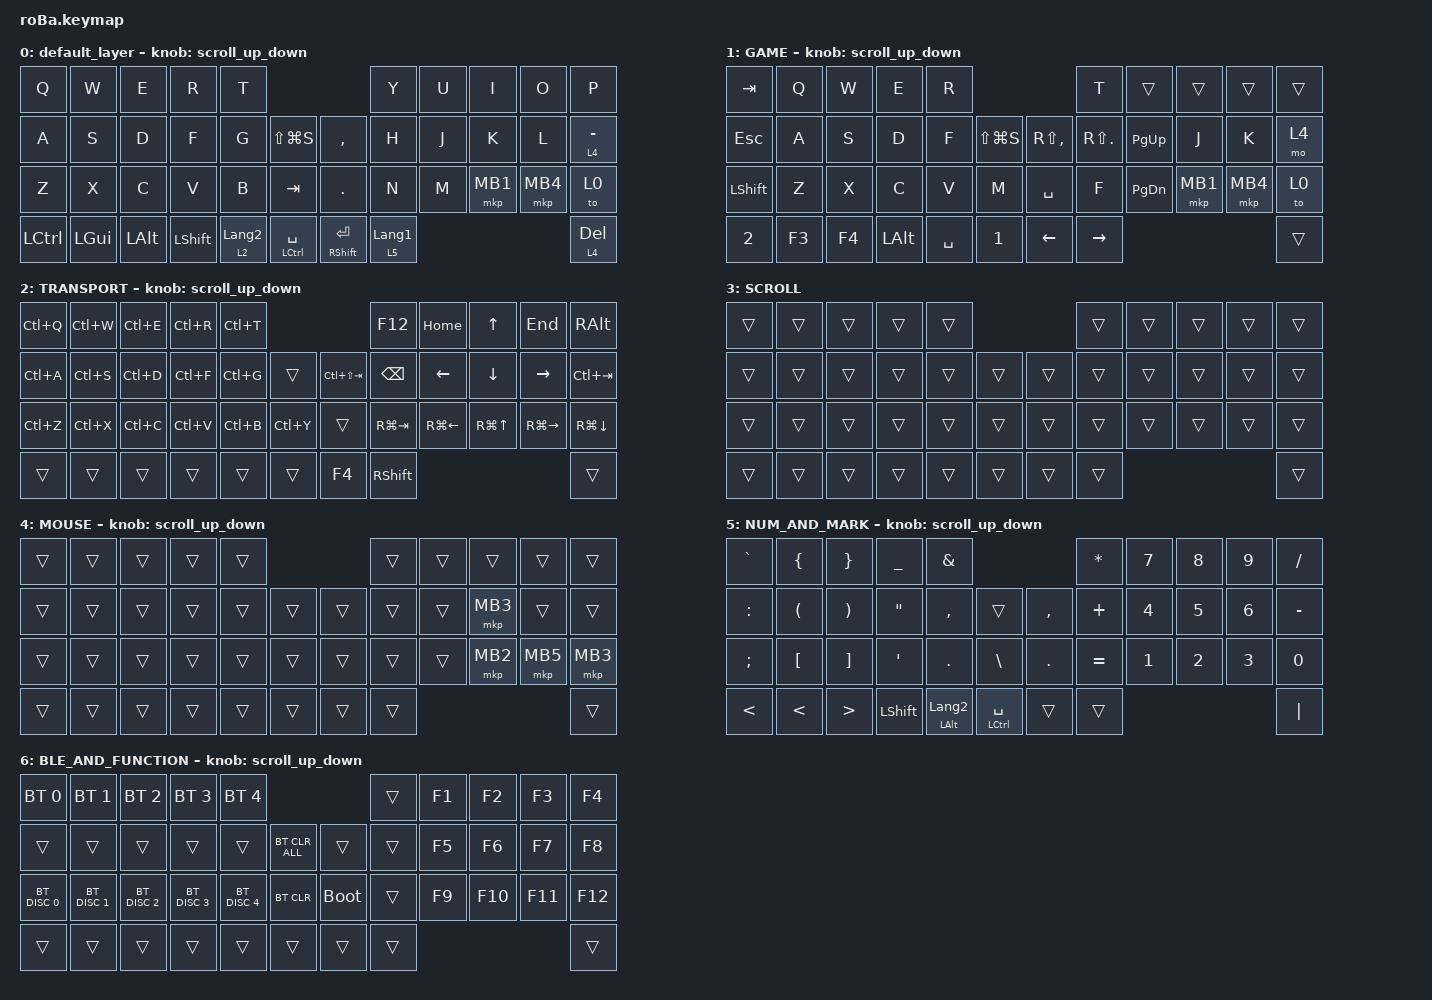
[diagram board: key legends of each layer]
#include <behaviors.dtsi>
#include <dt-bindings/zmk/bt.h>
#include <dt-bindings/zmk/keys.h>
#include <dt-bindings/zmk/mouse.h>
#include <interfaces/hid-trackball.dtsi>

#define MOUSE 4
#define SCROLL 5
#define NUM 6
#define ZMK_MOUSE_DEFAULT_SCRL_VAL 100

&mt {
    flavor = "balanced";
    quick-tap-ms = <0>;
};

/ {
    combos {
        compatible = "zmk,combos";

        tab {
            bindings = <&kp TAB>;
            key-positions = <11 10>;
        };

        shift_tab {
            bindings = <&kp LS(TAB)>;
            key-positions = <12 11>;
        };

        eq {
            bindings = <&kp EQUAL>;
            key-positions = <24 25>;
        };

        left_toggle_game_layer {
            bindings = <&tog 1>;
            key-positions = <39 38 37>;
        };

        right_toggle_game_layer {
            bindings = <&tog 1>;
            key-positions = <40 41>;
        };

        COMBO_ESCAPE {
            bindings = <&kp ESCAPE>;
            key-positions = <0 1>;
        };

        toggle_ble_func_layer {
            bindings = <&tog 6>;
            key-positions = <34 35 36>;
        };

        COMBO_F1 {
            bindings = <&kp F1>;
            key-positions = <5 6>;
        };

        COMBO_F2 {
            bindings = <&kp F2>;
            key-positions = <6 7>;
        };

        COMBO_F3 {
            bindings = <&kp F3>;
            key-positions = <7 8>;
        };

        COMBO_F4 {
            bindings = <&kp F4>;
            key-positions = <9 8>;
        };

        COMBO_F5 {
            bindings = <&kp F5>;
            key-positions = <17 18>;
        };

        COMBO_F6 {
            bindings = <&kp F6>;
            key-positions = <18 19>;
        };

        COMBO_F7 {
            bindings = <&kp F7>;
            key-positions = <19 20>;
        };

        COMBO_F8 {
            bindings = <&kp F8>;
            key-positions = <20 21>;
        };

        COMBO_F9 {
            bindings = <&kp F9>;
            key-positions = <29 30>;
        };

        COMBO_F10 {
            bindings = <&kp F10>;
            key-positions = <30 31>;
        };

        COMBO_F11 {
            bindings = <&kp F11>;
            key-positions = <31 32>;
        };

        COMBO_F12 {
            bindings = <&kp F12>;
            key-positions = <32 33>;
        };
    };

    macros {
        to_layer_0: to_layer_0 {
            compatible = "zmk,behavior-macro-one-param";
            #binding-cells = <1>;
            bindings = <&to 0 &macro_param_1to1 &kp MACRO_PLACEHOLDER>;
            label = "TO_LAYER_0";
        };
    };

    behaviors {
        lt_to_layer_0: lt_to_layer_0 {
            compatible = "zmk,behavior-hold-tap";
            label = "LAYER_TAP_TO_0";
            bindings = <&mo>, <&to_layer_0>;

            #binding-cells = <2>;
            tapping-term-ms = <200>;
        };

        scroll_up_down: behavior_sensor_rotate_mouse_wheel_up_down {
            compatible = "zmk,behavior-sensor-rotate";
            #sensor-binding-cells = <0>;
            bindings = <&msc SCRL_UP>, <&msc SCRL_DOWN>;
            // 追加: スクロールのタップ時間を設定 (20ms)
            tap-ms = <20>;
        };
    };

    keymap {
        compatible = "zmk,keymap";

        default_layer {
            bindings = <
&kp Q             &kp W         &kp E         &kp R           &kp T                                                              &kp Y             &kp U  &kp I     &kp O     &kp P
&kp A             &kp S         &kp D         &kp F           &kp G             &kp LS(LG(S))             &kp COMMA              &kp H             &kp J  &kp K     &kp L     &lt 4 MINUS
&kp Z             &kp X         &kp C         &kp V           &kp B             &kp TAB                   &kp PERIOD             &kp N             &kp M  &mkp MB1  &mkp MB4  &to 0
&kp LEFT_CONTROL  &kp LEFT_GUI  &kp LEFT_ALT  &kp LEFT_SHIFT  &lt 2 LANGUAGE_2  &mt LEFT_CONTROL SPACE    &mt RIGHT_SHIFT ENTER  &lt 5 LANGUAGE_1                             &lt 4 DELETE
            >;

            sensor-bindings = <&scroll_up_down>;
        };

        GAME {
            bindings = <
&kp TAB         &kp Q   &kp W   &kp E         &kp R                                       &kp T            &trans         &trans    &trans    &trans
&kp ESCAPE      &kp A   &kp S   &kp D         &kp F      &kp LS(LG(S))    &kp RS(COMMA)   &kp RS(PERIOD)   &kp PAGE_UP    &kp J     &kp K     &mo 4
&kp LEFT_SHIFT  &kp Z   &kp X   &kp C         &kp V      &kp M            &kp SPACE       &kp F            &kp PAGE_DOWN  &mkp MB1  &mkp MB4  &to 0
&kp NUMBER_2    &kp F3  &kp F4  &kp LEFT_ALT  &kp SPACE  &kp NUMBER_1     &kp LEFT_ARROW  &kp RIGHT_ARROW                                     &trans
            >;

            sensor-bindings = <&scroll_up_down>;
        };

        TRANSPORT {
            bindings = <
&kp LC(Q)  &kp LC(W)  &kp LC(E)  &kp LC(R)  &kp LC(T)                                &kp F12          &kp HOME            &kp UP_ARROW      &kp END              &kp RIGHT_ALT
&kp LC(A)  &kp LC(S)  &kp LC(D)  &kp LC(F)  &kp LC(G)  &trans       &kp LC(LS(TAB))  &kp BACKSPACE    &kp LEFT_ARROW      &kp DOWN_ARROW    &kp RIGHT_ARROW      &kp LC(TAB)
&kp LC(Z)  &kp LC(X)  &kp LC(C)  &kp LC(V)  &kp LC(B)  &kp LC(Y)    &trans           &kp RG(TAB)      &kp RG(LEFT_ARROW)  &kp RG(UP_ARROW)  &kp RG(RIGHT_ARROW)  &kp RG(DOWN_ARROW)
&trans     &trans     &trans     &trans     &trans     &trans       &kp F4           &kp RIGHT_SHIFT                                                             &trans
            >;

            sensor-bindings = <&scroll_up_down>;
        };

        SCROLL {
            bindings = <
&trans  &trans  &trans  &trans  &trans                    &trans  &trans  &trans  &trans  &trans
&trans  &trans  &trans  &trans  &trans  &trans    &trans  &trans  &trans  &trans  &trans  &trans
&trans  &trans  &trans  &trans  &trans  &trans    &trans  &trans  &trans  &trans  &trans  &trans
&trans  &trans  &trans  &trans  &trans  &trans    &trans  &trans                          &trans
            >;
        };

        MOUSE {
            bindings = <
&trans  &trans  &trans  &trans  &trans                    &trans  &trans  &trans    &trans    &trans
&trans  &trans  &trans  &trans  &trans  &trans    &trans  &trans  &trans  &mkp MB3  &trans    &trans
&trans  &trans  &trans  &trans  &trans  &trans    &trans  &trans  &trans  &mkp MB2  &mkp MB5  &mkp MB3
&trans  &trans  &trans  &trans  &trans  &trans    &trans  &trans                              &trans
            >;

            sensor-bindings = <&scroll_up_down>;
        };

        NUM_AND_MARK {
            bindings = <
&kp GRAVE      &kp LEFT_BRACE        &kp RIGHT_BRACE        &kp UNDERSCORE     &kp AMPERSAND                                                  &kp ASTERISK  &kp NUMBER_7  &kp NUMBER_8  &kp NUMBER_9  &kp SLASH
&kp COLON      &kp LEFT_PARENTHESIS  &kp RIGHT_PARENTHESIS  &kp DOUBLE_QUOTES  &kp COMMA                &trans                    &kp COMMA   &kp PLUS      &kp NUMBER_4  &kp NUMBER_5  &kp NUMBER_6  &kp MINUS
&kp SEMICOLON  &kp LEFT_BRACKET      &kp RIGHT_BRACKET      &kp SINGLE_QUOTE   &kp PERIOD               &kp BACKSLASH             &kp PERIOD  &kp EQUAL     &kp NUMBER_1  &kp NUMBER_2  &kp NUMBER_3  &kp NUMBER_0
&kp LESS_THAN  &kp LESS_THAN         &kp GREATER_THAN       &kp LEFT_SHIFT     &mt LEFT_ALT LANGUAGE_2  &mt LEFT_CONTROL SPACE    &trans      &trans                                                  &kp PIPE
            >;

            sensor-bindings = <&scroll_up_down>;
        };

        BLE_AND_FUNCTION {
            bindings = <
&bt BT_SEL 0   &bt BT_SEL 1   &bt BT_SEL 2   &bt BT_SEL 3   &bt BT_SEL 4                                  &trans  &kp F1  &kp F2   &kp F3   &kp F4
&trans         &trans         &trans         &trans         &trans         &bt BT_CLR_ALL    &trans       &trans  &kp F5  &kp F6   &kp F7   &kp F8
&bt BT_DISC 0  &bt BT_DISC 1  &bt BT_DISC 2  &bt BT_DISC 3  &bt BT_DISC 4  &bt BT_CLR        &bootloader  &trans  &kp F9  &kp F10  &kp F11  &kp F12
&trans         &trans         &trans         &trans         &trans         &trans            &trans       &trans                            &trans
            >;

            sensor-bindings = <&scroll_up_down>;
        };
    };
};
